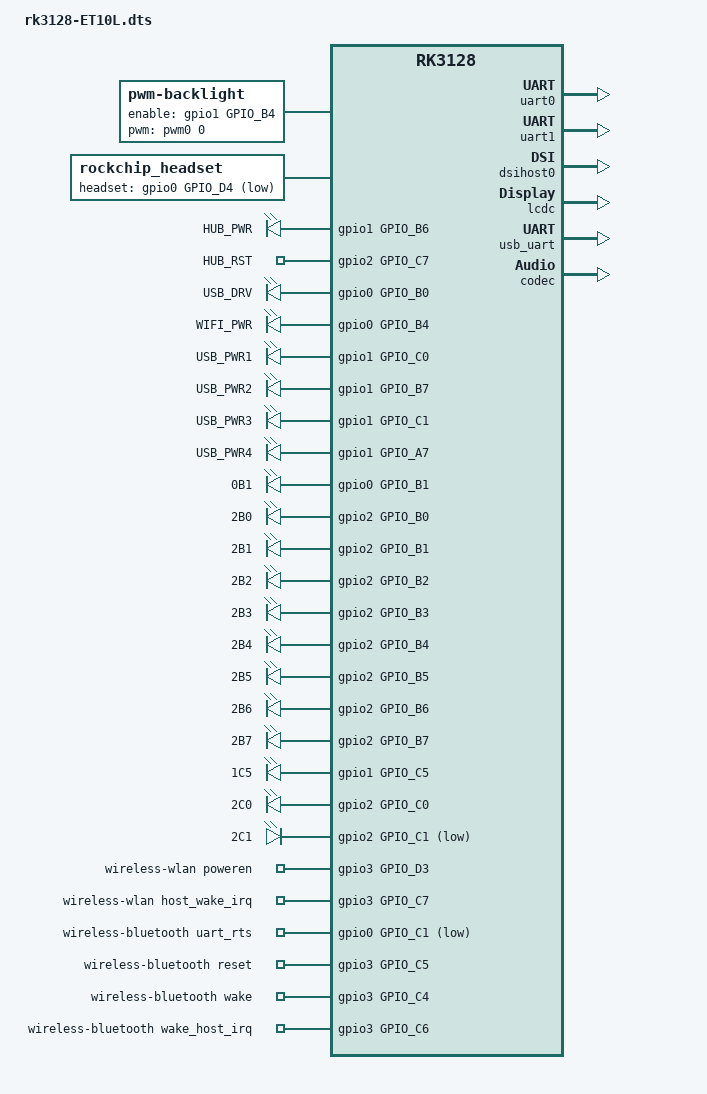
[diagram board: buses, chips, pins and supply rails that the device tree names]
/dts-v1/;

#include "rk3128.dtsi"
#include "rk3128-cif-sensor.dtsi"
#include "rk312x-sdk.dtsi"
//#include "lcd-b101ew05.dtsi"
#include "screen-timing/lcd-mipi-zcs.dtsi"

/ {
	compatible = "rockchip,rk3128";
        backlight: backlight {
                compatible = "pwm-backlight";
                pwms = <&pwm0 0 25000>;
                brightness-levels = <0 1 2 3 4 5 6 7 8 9 10 11 12 13 14 15 16 17 18 19 20 21 22 23 24 25 26 27 28 29 30 31 32 33 34 35 36 37 38 39 40 41 42 43 44 45 46 47 48 49 50 51 52 53 54 55 56 57 58 59 60 61 62 63 64 65 66 67 68 69 70 71 72 73 74 75 76 77 78 79 80 81 82 83 84 85 86 87 88 89 90 91 92 93 94 95 96 97 98 99 100 101 102 103 104 105 106 107 108 109 110 111 112 113 114 115 116 117 118 119 120 121 122 123 124 125 126 127 128 129 130 131 132 133 134 135 136 137 138 139 140 141 142 143 144 145 146 147 148 149 150 151 152 153 154 155 156 157 158 159 160 161 162 163 164 165 166 167 168 169 170 171 172 173 174 175 176 177 178 179 180 181 182 183 184 185 186 187 188 189 190 191 192 193 194 195 196 197 198 199 200 201 202 203 204 205 206 207 208 209 210 211 212 213 214 215 216 217 218 219 220 221 222 223 224 225 226 227 228 229 230 231 232 233 234 235 236 237 238 239 240 241 242 243 244 245 246 247 248 249 250 251 252 253 254 255>;
                default-brightness-level = <128>;
                enable-gpios = <&gpio1 GPIO_B4 GPIO_ACTIVE_HIGH>;
        };

	usb_control {
		compatible = "rockchip,rk3126-usb-control";

		//host_drv_gpio = <&gpio3 GPIO_C4 GPIO_ACTIVE_LOW>;
		//otg_drv_gpio = <&gpio3 GPIO_C1 GPIO_ACTIVE_LOW>;

		rockchip,remote_wakeup;
		rockchip,usb_irq_wakeup;
	};

	rockchip_headset {
                compatible = "rockchip_headset";
                headset_gpio = <&gpio0 GPIO_D4 GPIO_ACTIVE_LOW>;
		status = "okay";
        };

	leds {
                status = "okay";
                compatible = "gpio-leds";
		pinctrl-names = "default";
                pinctrl-0 = <&hub_pwr &hub_rst &gpio_1c5>;

                HUB_PWR {
                        gpios = <&gpio1 GPIO_B6 GPIO_ACTIVE_HIGH>;
                        default-state = "on";
                };
                HUB_RST {
                        gpios = <&gpio2 GPIO_C7 GPIO_ACTIVE_HIGH>;
                        default-state = "on";
                };
		USB_DRV {
			gpios = <&gpio0 GPIO_B0 GPIO_ACTIVE_HIGH>;
                        default-state = "on";
		};
		WIFI_PWR {
			gpios = <&gpio0 GPIO_B4 GPIO_ACTIVE_HIGH>;
                        default-state = "off";
		};
		USB_PWR1 {
			gpios = <&gpio1 GPIO_C0 GPIO_ACTIVE_HIGH>;
                        default-state = "on";
		};
		USB_PWR2 {
			gpios = <&gpio1 GPIO_B7 GPIO_ACTIVE_HIGH>;
                        default-state = "on";
		};
		USB_PWR3 {
			gpios = <&gpio1 GPIO_C1 GPIO_ACTIVE_HIGH>;
                        default-state = "on";
		};
		USB_PWR4 {
			gpios = <&gpio1 GPIO_A7 GPIO_ACTIVE_HIGH>;
                        default-state = "on";
		};
		0B1 {
			gpios = <&gpio0 GPIO_B1 GPIO_ACTIVE_HIGH>;
                        default-state = "on";
		};
		2B0 {
			gpios = <&gpio2 GPIO_B0 GPIO_ACTIVE_HIGH>;
                        default-state = "on";
		};
		2B1 {
			gpios = <&gpio2 GPIO_B1 GPIO_ACTIVE_HIGH>;
			retain-state-suspended; //休眠保持运行
                        default-state = "on";
		};
		2B2 {
			gpios = <&gpio2 GPIO_B2 GPIO_ACTIVE_HIGH>;
			retain-state-suspended; //休眠保持运行
                        default-state = "on";
		};
		2B3 {
			gpios = <&gpio2 GPIO_B3 GPIO_ACTIVE_HIGH>;
			retain-state-suspended; //休眠保持运行
                        default-state = "on";
		};
		2B4 {
			gpios = <&gpio2 GPIO_B4 GPIO_ACTIVE_HIGH>;
			retain-state-suspended; //休眠保持运行
                        default-state = "on";
		};
		2B5 {
			gpios = <&gpio2 GPIO_B5 GPIO_ACTIVE_HIGH>;
			retain-state-suspended; //休眠保持运行
                        default-state = "on";
		};
		2B6 {
			gpios = <&gpio2 GPIO_B6 GPIO_ACTIVE_HIGH>;
			retain-state-suspended; //休眠保持运行
                        default-state = "on";
		};
		2B7 {
			gpios = <&gpio2 GPIO_B7 GPIO_ACTIVE_HIGH>;
			retain-state-suspended; //休眠保持运行
                        default-state = "on";
		};

		1C5 {
                        gpios = <&gpio1 GPIO_C5 GPIO_ACTIVE_HIGH>;
			retain-state-suspended; //休眠保持运行
                        default-state = "on";
                };

		2C0 {
			gpios = <&gpio2 GPIO_C0 GPIO_ACTIVE_HIGH>;
			retain-state-suspended; //休眠保持运行
                        default-state = "on";
		};
		2C1 {
			gpios = <&gpio2 GPIO_C1 GPIO_ACTIVE_LOW>;
			retain-state-suspended; //休眠保持运行
                        default-state = "on";
		};
        };

	wireless-wlan {
                compatible = "wlan-platdata";
                wifi_chip_type = "ap6212";
                //sdio_vref = <3300>; //1800mv or 3300mv
                //keep_wifi_power_on;

                //WIFI,reset_gpio = <&gpio0 GPIO_B4 GPIO_ACTIVE_LOW>;
                WIFI,poweren_gpio = <&gpio3 GPIO_D3 GPIO_ACTIVE_HIGH>;
                WIFI,host_wake_irq = <&gpio3 GPIO_C7 GPIO_ACTIVE_HIGH>;

                satus = "okay";
        };

        wireless-bluetooth {
                compatible = "bluetooth-platdata";
                uart_rts_gpios = <&gpio0 GPIO_C1 GPIO_ACTIVE_LOW>;
                pinctrl-names = "default","rts_gpio";
                pinctrl-0 = <&uart0_rts>;
                pinctrl-1 = <&uart0_rts_gpio>;

                //BT,power_gpio = <&gpio1 GPIO_A3 GPIO_ACTIVE_LOW>;
                BT,reset_gpio = <&gpio3 GPIO_C5 GPIO_ACTIVE_HIGH>;
                BT,wake_gpio = <&gpio3 GPIO_C4 GPIO_ACTIVE_HIGH>;
                BT,wake_host_irq = <&gpio3 GPIO_C6 GPIO_ACTIVE_HIGH>;

                status = "okay";
        };
};

&uart0 {
        status = "okay";
        dma-names = "!tx", "!rx";
        pinctrl-0 = <&uart0_xfer &uart0_cts>;
};

&uart1 {
        status = "okay";
};

&fb {
	rockchip,disp-mode = <ONE_DUAL>;
	rockchip,uboot-logo-on = <1>;
};

&dsihost0 {
        status = "okay";
};

&rk_screen {
	display-timings = <&disp_timings>;
};

&lvds {
	status = "disabled";

	pinctrl-names = "lcdc";
	pinctrl-0 = <&lcdc0_lcdc_d>;
};

&lcdc {
	status = "okay";

	backlight = <&backlight>;
	pinctrl-names = "default", "gpio";
	pinctrl-0 = <&lcdc0_lcdc>;
	pinctrl-1 = <&lcdc0_gpio>;

	rockchip,fb-win-map = <FB_DEFAULT_ORDER>;
	/*
	power_ctr: power_ctr {
		rockchip,debug = <0>;
		lcd_cs: lcd_cs {
			rockchip,power_type = <GPIO>;
			gpios = <&gpio0 GPIO_D0 GPIO_ACTIVE_HIGH>;
			rockchip,delay = <10>;
		};
	};
	*/
};

&hdmi {
        status = "disabled";
};

&dwc_control_usb {
	usb_uart {
		status = "ok";
	};
};
&codec {
	spk_ctl_io = <&gpio0 GPIO_D6 GPIO_ACTIVE_HIGH>;
        spk-mute-delay = <200>;
        hp-mute-delay = <100>;
        rk312x_for_mid = <1>;
        is_rk3128 = <1>;
        spk_volume = <25>;
        hp_volume = <25>;
        capture_volume = <26>;
        gpio_debug = <1>;
        codec_hp_det = <0>;
	status = "okay";
};

&rk3128_cif_sensor{
	status = "disabled";
};


&clk_core_dvfs_table {
	operating-points = <
		/* KHz    uV */
		216000 925000
		408000 925000
		600000 950000
		696000 975000
		816000 1050000
		1008000 1175000
		1200000 1300000
		1296000 1350000
		1320000 1375000
		>;
	virt-temp-limit-1-cpu-busy = <
	/* target-temp	limit-freq */
		75	1008000
		85	1200000
		95	1200000
		100	1200000
		>;
	virt-temp-limit-2-cpu-busy = <
	/* target-temp	limit-freq */
		75	912000
		85	1008000
		95	1104000
		100	1200000
		>;
	virt-temp-limit-3-cpu-busy = <
	/* target-temp	limit-freq */
		75	816000
		85	912000
		95	100800
		100	110400
		>;
	virt-temp-limit-4-cpu-busy = <
	/* target-temp	limit-freq */
		75	816000
		85	912000
		95	100800
		100	110400
		>;
	temp-limit-enable = <1>;
	target-temp = <85>;
	status="okay";
};

&clk_gpu_dvfs_table {
	operating-points = <
		/* KHz    uV */
		200000 950000
		300000 975000
		400000 1075000
		//480000 1175000
		>;
	status="okay";
};

&clk_ddr_dvfs_table {
	operating-points = <
		/* KHz    uV */
		//200000 950000
		//300000 950000
		400000 1000000
		//533000 1200000
		>;

	freq-table = <
		/*status		freq(KHz)*/
		SYS_STATUS_NORMAL	400000
		SYS_STATUS_SUSPEND	400000
		SYS_STATUS_VIDEO_1080P  400000
		SYS_STATUS_VIDEO_4K     400000
		SYS_STATUS_PERFORMANCE  400000
		SYS_STATUS_DUALVIEW	400000
		SYS_STATUS_BOOST	400000
		SYS_STATUS_ISP		400000
		>;
	auto-freq-table = <
		//240000
		//324000
		396000
		//528000
		>;
	auto-freq=<0>;
	status="okay";
};
